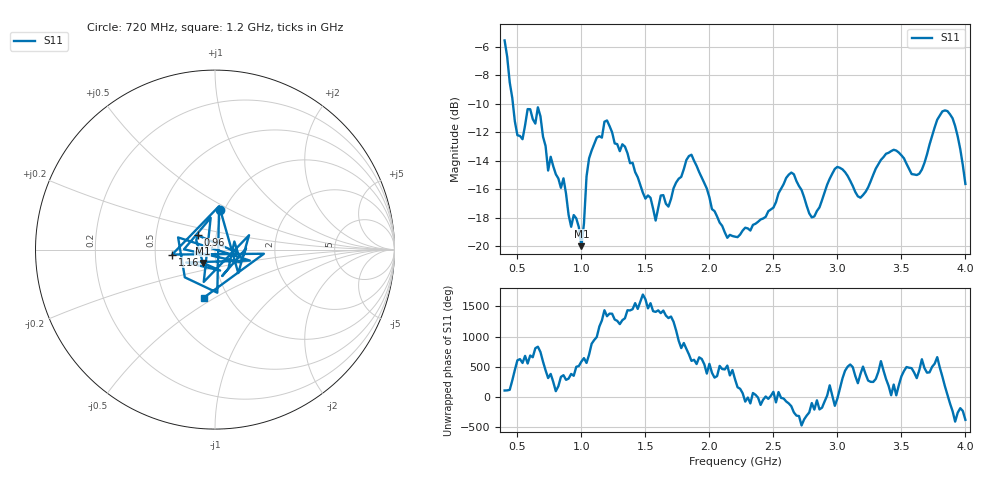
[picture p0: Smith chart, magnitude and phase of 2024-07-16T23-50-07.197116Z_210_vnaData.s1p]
!Created with skrf (http://scikit-rf.org).
# Hz S RI R 50.0
!freq ReS11 ImS11
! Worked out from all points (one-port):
!   181 points, 400 MHz to 4 GHz, reference 50 ohm
!   lowest |S11| = -20.0 dB at 1 GHz (marker M1), VSWR 1.22, Z = 43.2 - j6.46 ohm
!   |S11| at or under -10 dB: 464.9 MHz to end of sweep
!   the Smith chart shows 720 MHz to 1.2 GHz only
!   S11 on the Smith chart (normalised r, x): 720 MHz: 0.96, +0.45; 960 MHz: 0.81, +0.13; 1.16 GHz: 0.61, -0.04; 1.2 GHz: 0.77, -0.45
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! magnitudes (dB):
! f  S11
! 400 MHz  -5.6
! 500 MHz  -12.2
! 660 MHz  -10.3
! 720 MHz  -13.0
! 740 MHz  -14.7
! 860 MHz  -15.2
! 920 MHz  -18.6
! 960 MHz  -18.1
! 1 GHz  -20.0
! 1.06 GHz  -13.8
! 1.16 GHz  -12.4
! 1.2 GHz  -11.2
! 1.3 GHz  -13.3
! 1.58 GHz  -18.2
! 1.76 GHz  -15.3
! 1.86 GHz  -13.6
! 2.2 GHz  -19.3
! 2.66 GHz  -15.0
! 2.8 GHz  -18.0
! 2.98 GHz  -14.6
! 3.1 GHz  -15.4
! 3.18 GHz  -16.6
! 3.44 GHz  -13.2
! 3.56 GHz  -14.6
! 3.66 GHz  -14.6
! 3.84 GHz  -10.5
! 3.92 GHz  -11.6
! 4 GHz  -15.6
